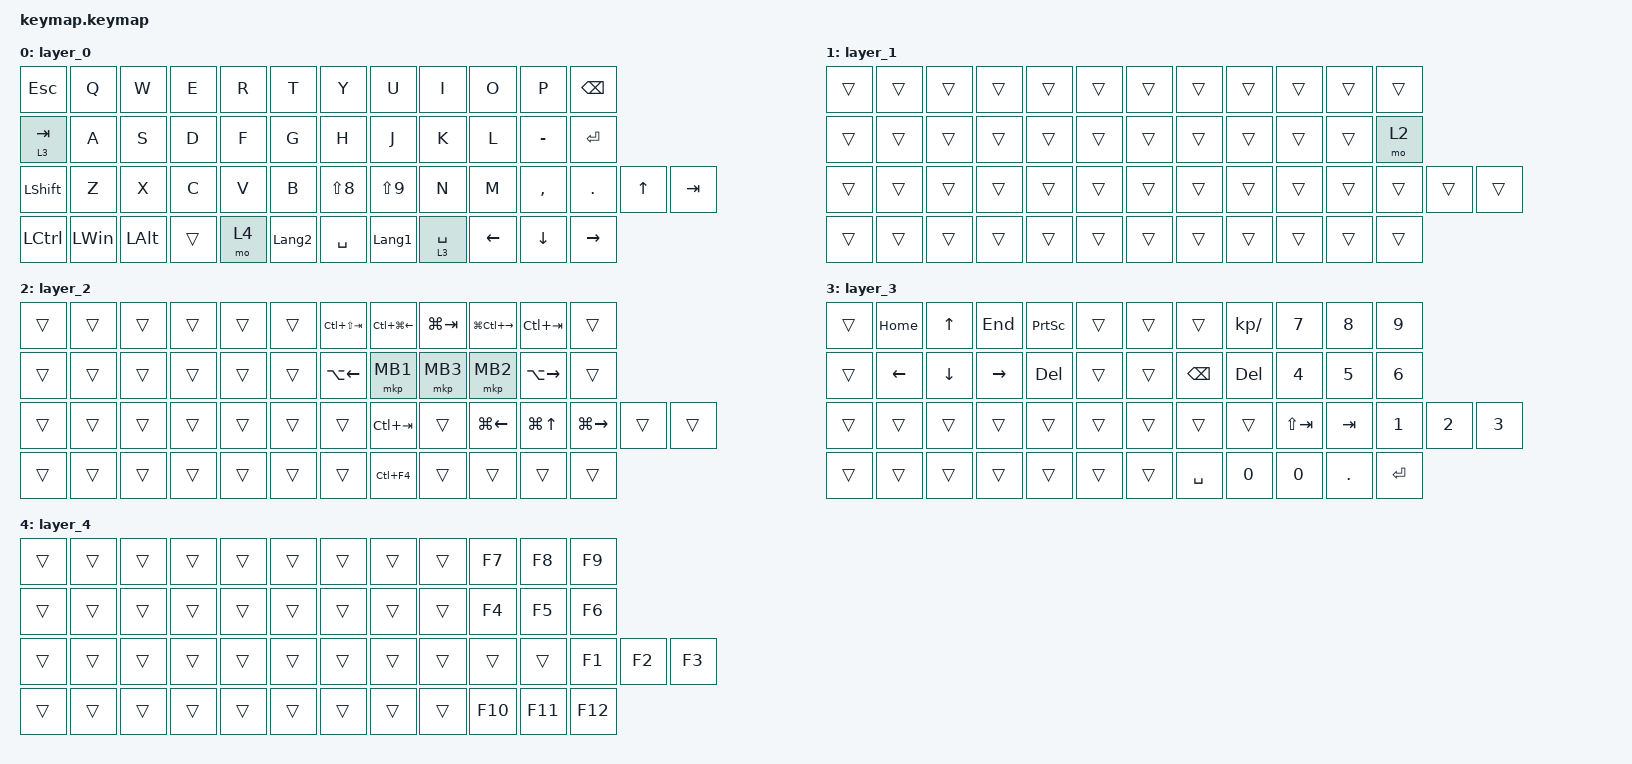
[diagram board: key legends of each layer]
#include <behaviors.dtsi>
#include <dt-bindings/zmk/bt.h>
#include <dt-bindings/zmk/keys.h>
#include <dt-bindings/zmk/pointing.h>

/ {
    combos {
        compatible = "zmk,combos";

        bt_clear {
            bindings = <&bt BT_CLR>;
            key-positions = <28 29>;
            layers = <4>;
        };
    };

    behaviors {
        layer_switch: layer_switch {
            compatible = "zmk,behavior-hold-tap";
            label = "LAYER_SWITCH";
            bindings = <&to>, <&to>;

            #binding-cells = <2>;
            tapping-term-ms = <200>;
        };

        tap_kp_hold_to: tap_kp_hold_to {
            compatible = "zmk,behavior-hold-tap";
            label = "TAP_KP_HOLD_TO";
            bindings = <&to>, <&kp>;

            #binding-cells = <2>;
            tapping-term-ms = <200>;
        };
    };

    macros {
        double_zero: double_zero {
            compatible = "zmk,behavior-macro";
            #binding-cells = <0>;
            bindings = <&kp N0 &kp N0>;
            label = "DOUBLE_ZERO";
        };

        new_macro: new_macro {
            compatible = "zmk,behavior-macro";
            #binding-cells = <0>;
            bindings = <&none>;
            label = "NEW_MACRO";
        };
    };

    keymap {
        compatible = "zmk,keymap";

        layer_0 {
            bindings = <
&kp ESCAPE  &kp Q         &kp W     &kp E   &kp R  &kp T           &kp Y       &kp U           &kp I        &kp O           &kp P           &kp BSPC
&lt 3 TAB   &kp A         &kp S     &kp D   &kp F  &kp G           &kp H       &kp J           &kp K        &kp L           &kp MINUS       &kp ENTER
&kp LSHFT   &kp Z         &kp X     &kp C   &kp V  &kp B           &kp LS(N8)  &kp LS(N9)      &kp N        &kp M           &kp COMMA       &kp DOT          &kp UP_ARROW  &kp TAB
&kp LCTRL   &kp LEFT_WIN  &kp LALT  &trans  &mo 4  &kp LANGUAGE_2  &kp SPACE   &kp LANGUAGE_1  &lt 3 SPACE  &kp LEFT_ARROW  &kp DOWN_ARROW  &kp RIGHT_ARROW
            >;
        };

        layer_1 {
            bindings = <
&trans  &trans  &trans  &trans  &trans  &trans  &trans  &trans  &trans  &trans  &trans  &trans
&trans  &trans  &trans  &trans  &trans  &trans  &trans  &trans  &trans  &trans  &trans  &mo 2
&trans  &trans  &trans  &trans  &trans  &trans  &trans  &trans  &trans  &trans  &trans  &trans  &trans  &trans
&trans  &trans  &trans  &trans  &trans  &trans  &trans  &trans  &trans  &trans  &trans  &trans
            >;
        };

        layer_2 {
            bindings = <
&trans  &trans  &trans  &trans  &trans  &trans  &kp LC(LS(TAB))  &kp LC(LG(LEFT_ARROW))  &kp LG(TAB)  &kp LG(LC(RIGHT_ARROW))  &kp LC(TAB)          &trans
&trans  &trans  &trans  &trans  &trans  &trans  &kp LA(LEFT)     &mkp MB1                &mkp MB3     &mkp MB2                 &kp LA(RIGHT_ARROW)  &trans
&trans  &trans  &trans  &trans  &trans  &trans  &trans           &kp LC(TAB)             &trans       &kp LG(LEFT)             &kp LG(UP_ARROW)     &kp LG(RIGHT)  &trans  &trans
&trans  &trans  &trans  &trans  &trans  &trans  &trans           &kp LC(F4)              &trans       &trans                   &trans               &trans
            >;
        };

        layer_3 {
            bindings = <
&trans  &kp HOME        &kp UP_ARROW    &kp END    &kp PSCRN  &trans  &trans  &trans         &kp KP_DIVIDE  &kp NUMBER_7  &kp NUMBER_8  &kp NUMBER_9
&trans  &kp LEFT_ARROW  &kp DOWN_ARROW  &kp RIGHT  &kp DEL    &trans  &trans  &kp BACKSPACE  &kp DELETE     &kp NUMBER_4  &kp NUMBER_5  &kp NUMBER_6
&trans  &trans          &trans          &trans     &trans     &trans  &trans  &trans         &trans         &kp LS(TAB)   &kp TAB       &kp NUMBER_1  &kp NUMBER_2  &kp NUMBER_3
&trans  &trans          &trans          &trans     &trans     &trans  &trans  &kp SPACE      &kp NUMBER_0   &kp NUMBER_0  &kp DOT       &kp ENTER
            >;
        };

        layer_4 {
            bindings = <
&trans  &trans  &trans  &trans  &trans  &trans  &trans  &trans  &trans  &kp F7   &kp F8   &kp F9
&trans  &trans  &trans  &trans  &trans  &trans  &trans  &trans  &trans  &kp F4   &kp F5   &kp F6
&trans  &trans  &trans  &trans  &trans  &trans  &trans  &trans  &trans  &trans   &trans   &kp F1   &kp F2  &kp F3
&trans  &trans  &trans  &trans  &trans  &trans  &trans  &trans  &trans  &kp F10  &kp F11  &kp F12
            >;
        };
    };
};
